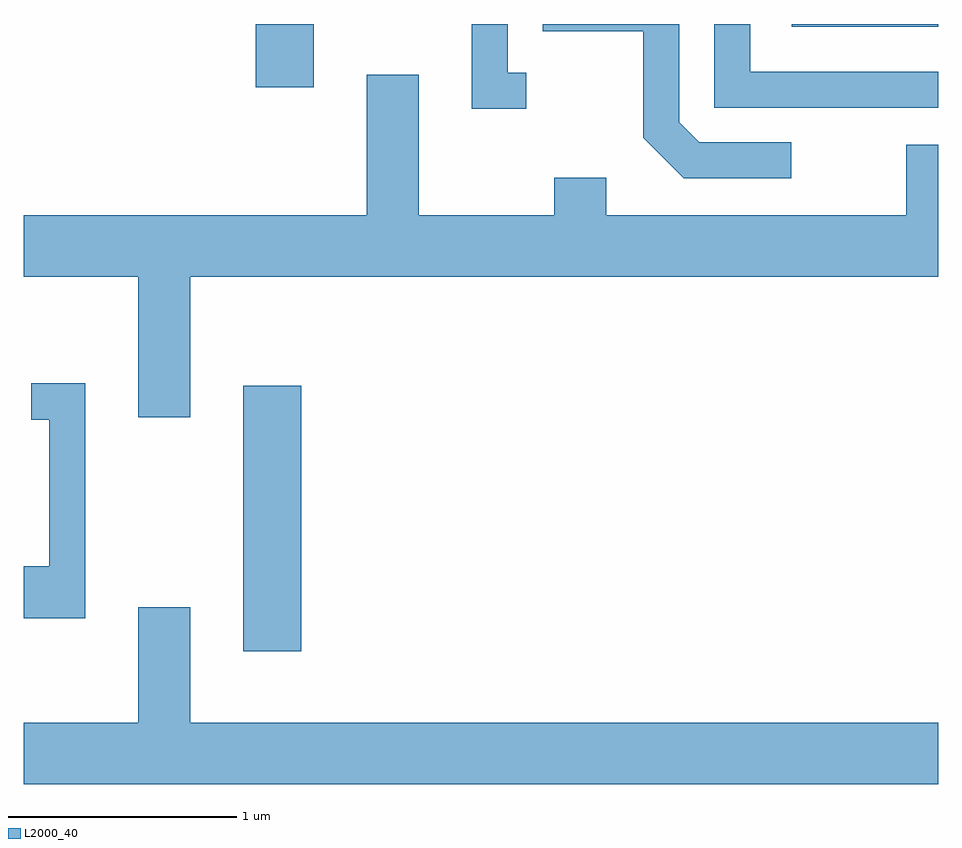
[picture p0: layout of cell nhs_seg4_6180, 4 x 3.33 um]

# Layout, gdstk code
import gdstk
lib = gdstk.Library(unit=1e-6, precision=1e-09)
def R(c, l, rs):  # rectangles x0, y0, x1, y1
    for r in rs: c.add(gdstk.rectangle(r[:2], r[2:], *l))
def P(c, l, *ps):  # polygons
    for p in ps: c.add(gdstk.Polygon(p, *l))
L2000_40 = (2000, 40)

nhs_seg4_6180 = lib.new_cell('nhs_seg4_6180')
R(nhs_seg4_6180, L2000_40, [(366.571,1375.236,366.824,1376.399), (366.626,1377.706,366.879,1377.982), (368.971,1377.971,369.611,1377.982)])
P(nhs_seg4_6180, L2000_40, [(369.611,1377.774),(368.789,1377.774),(368.789,1377.982),(368.631,1377.982),(368.631,1377.616),(369.611,1377.616)],
  [(368.968,1377.464),(368.567,1377.464),(368.479,1377.552),(368.479,1377.982),(367.881,1377.982),(367.881,1377.951),(368.321,1377.951),(368.321,1377.484),(368.499,1377.306),(368.968,1377.306)],
  [(367.808,1377.769),(367.729,1377.769),(367.729,1377.982),(367.571,1377.982),(367.571,1377.611),(367.808,1377.611)],
  [(366.339,1376.876),(369.611,1376.876),(369.611,1377.454),(369.471,1377.454),(369.471,1377.144),(368.159,1377.144),(368.159,1377.309),(367.931,1377.309),(367.931,1377.144),(367.339,1377.144),(367.339,1377.759),(367.111,1377.759),(367.111,1377.144),(365.611,1377.144),(365.611,1376.876),(366.111,1376.876),(366.111,1376.261),(366.339,1376.261)],
  [(365.879,1376.409),(365.643,1376.409),(365.643,1376.251),(365.721,1376.251),(365.721,1375.609),(365.611,1375.609),(365.611,1375.381),(365.879,1375.381)],
  [(369.611,1374.924),(366.339,1374.924),(366.339,1375.429),(366.111,1375.429),(366.111,1374.924),(365.611,1374.924),(365.611,1374.656),(369.611,1374.656)])

lib.write_gds('nhs_seg4_6180.gds')
